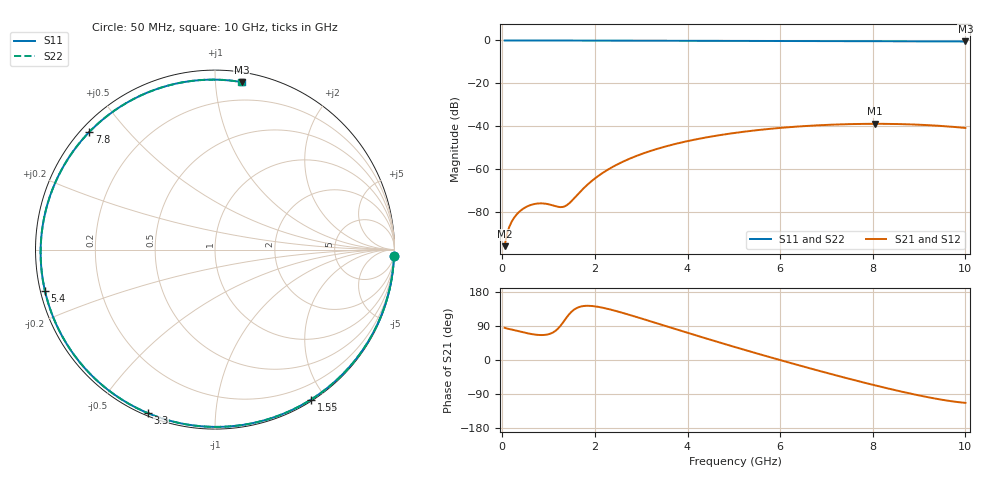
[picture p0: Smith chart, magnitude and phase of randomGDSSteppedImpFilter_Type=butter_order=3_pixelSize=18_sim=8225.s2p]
! freq	dB(S11)	phase(S11)	dB(S12)	phase(S12)
!  dB(S21)	phase(S21)	dB(S22)	phase(S22)
!S-par simulation data
#  GHz  S  DB  R 50
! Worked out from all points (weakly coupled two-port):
!   200 points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, 50 MHz to 10 GHz, reference 50 ohm
!   highest |S21| = -38.78 dB at 8.05 GHz (marker M1); lowest = -95.7 dB at 50 MHz (marker M2)
!   lowest |S11| = -0.5 dB at 10 GHz (marker M3), VSWR 35.39, Z = 3.35 + j58.4 ohm
!   |S11| at or under -10 dB: nowhere
!   |S22| runs from -0.5 to 0.0 dB; largest |S21 - S12| = 0
!   S11 on the Smith chart (normalised r, x): 50 MHz: 5, -59; 1.55 GHz: 0.02, -1.83; 3.3 GHz: 0.01, -0.67; 5.4 GHz: 0.01, -0.12; 7.8 GHz: 0.02, +0.39; 10 GHz: 0.07, +1.17
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0.05  -0.02 -1.9  -95.68 84.9  -95.68 84.9  -0.02 -1.9
0.35  -0.03 -13.4  -80.03 76.1  -80.03 76.1  -0.03 -13.4
0.55  -0.03 -21.0  -77.07 70.4  -77.07 70.4  -0.03 -21.0
0.75  -0.04 -28.5  -75.88 66.5  -75.88 66.5  -0.04 -28.5
1.3  -0.06 -48.6  -77.47 97.2  -77.47 97.2  -0.06 -48.6
1.4  -0.06 -52.1  -76.52 114.1  -76.52 114.1  -0.06 -52.1
1.55  -0.07 -57.4  -73.45 133.0  -73.45 133.0  -0.07 -57.4
1.75  -0.08 -64.3  -68.89 142.3  -68.89 142.3  -0.08 -64.2
2.05  -0.09 -74.3  -63.37 140.7  -63.37 140.7  -0.09 -74.3
2.4  -0.10 -85.5  -58.62 131.1  -58.62 131.1  -0.10 -85.5
3.3  -0.13 -112.3  -50.72 98.3  -50.72 98.3  -0.13 -112.3
3.4  -0.13 -115.1  -50.08 94.5  -50.08 94.5  -0.13 -115.1
4.25  -0.17 -137.9  -45.73 62.5  -45.73 62.5  -0.17 -137.9
5.05  -0.20 -157.8  -42.93 33.2  -42.93 33.2  -0.20 -157.8
5.4  -0.22 -166.2  -41.98 20.7  -41.98 20.7  -0.22 -166.2
6.05  -0.26 178.4  -40.59 -1.9  -40.59 -1.9  -0.26 178.4
6.7  -0.29 163.1  -39.61 -23.9  -39.61 -23.9  -0.29 163.1
7.8  -0.36 137.0  -38.81 -59.3  -38.81 -59.3  -0.36 137.0
8.05  -0.38 130.9  -38.78 -66.9  -38.78 -66.9  -0.38 130.9
8.35  -0.40 123.5  -38.82 -75.8  -38.82 -75.8  -0.40 123.5
9.2  -0.45 102.0  -39.41 -98.4  -39.41 -98.4  -0.45 102.0
10  -0.49 81.0  -40.71 -113.1  -40.71 -113.1  -0.49 81.0
